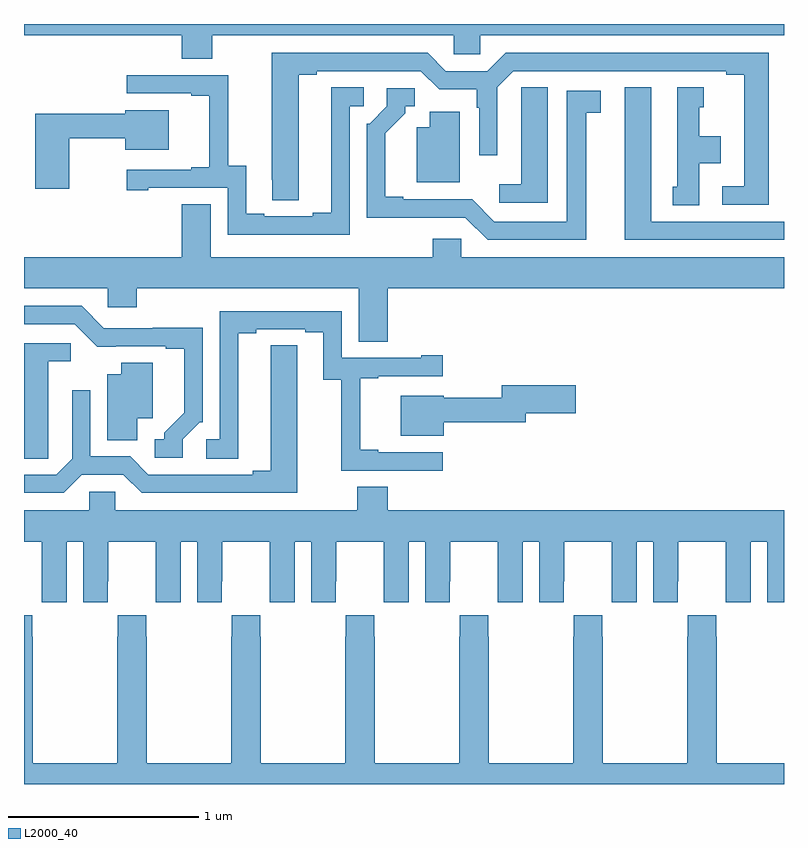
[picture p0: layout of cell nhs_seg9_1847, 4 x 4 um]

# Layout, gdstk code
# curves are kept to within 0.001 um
import gdstk
lib = gdstk.Library(unit=1e-6, precision=1e-09)
def P(c, l, *ps):  # polygons
    for p in ps: c.add(gdstk.Polygon(p, *l))
L2000_40 = (2000, 40)

nhs_seg9_1847 = lib.new_cell('nhs_seg9_1847')
P(nhs_seg9_1847, L2000_40, [(215.991,1176.44),(217.263,1176.44),(217.263,1176.342),(217.401,1176.342),(217.401,1176.44),(219,1176.44),(219,1176.5),(215,1176.5),(215,1176.44),(215.831,1176.44),(215.831,1176.316),(215.991,1176.316)],
  [(218.92,1176.348),(217.535,1176.348),(217.439,1176.252),(217.221,1176.252),(217.125,1176.348),(216.305,1176.348),(216.306,1175.572),(216.445,1175.572),(216.445,1176.232),(216.541,1176.232),(216.541,1176.252),(217.089,1176.252),(217.185,1176.156),(217.383,1176.156),(217.383,1176.059),(217.395,1176.059),(217.395,1175.808),(217.491,1175.808),(217.491,1176.168),(217.575,1176.252),(218.696,1176.252),(218.696,1176.232),(218.792,1176.232),(218.792,1175.646),(218.676,1175.646),(218.676,1175.55),(218.92,1175.55)],
  [(216.714,1176.066),(216.787,1176.066),(216.787,1176.167),(216.617,1176.167),(216.617,1175.507),(216.521,1175.507),(216.521,1175.487),(216.265,1175.487),(216.265,1175.502),(216.169,1175.502),(216.169,1175.753),(216.075,1175.753),(216.075,1176.231),(215.541,1176.231),(215.541,1176.135),(215.879,1176.135),(215.879,1176.123),(215.975,1176.123),(215.975,1175.746),(215.879,1175.746),(215.879,1175.733),(215.541,1175.733),(215.541,1175.625),(215.653,1175.625),(215.653,1175.637),(216.072,1175.637),(216.072,1175.391),(216.714,1175.391)],
  [(217.756,1176.167),(217.617,1176.167),(217.617,1176.059),(217.616,1176.059),(217.616,1175.656),(217.5,1175.656),(217.5,1175.559),(217.756,1175.559)],
  [(218.554,1175.768),(218.668,1175.768),(218.668,1175.908),(218.554,1175.908),(218.554,1176.063),(218.578,1176.063),(218.578,1176.166),(218.438,1176.166),(218.438,1175.643),(218.414,1175.643),(218.414,1175.545),(218.554,1175.545)],
  [(219,1175.46),(218.302,1175.46),(218.302,1176.166),(218.162,1176.166),(218.162,1175.364),(219,1175.364)],
  [(217.96,1176.034),(218.035,1176.034),(218.035,1176.15),(217.856,1176.15),(217.856,1175.46),(217.476,1175.46),(217.359,1175.577),(216.997,1175.577),(216.997,1175.59),(216.901,1175.59),(216.901,1175.926),(217.006,1176.031),(217.006,1176.066),(217.057,1176.066),(217.057,1176.162),(216.909,1176.162),(216.909,1176.066),(216.819,1175.976),(216.804,1175.976),(216.804,1175.48),(217.323,1175.481),(217.44,1175.364),(217.96,1175.364)],
  [(215.238,1175.899),(215.534,1175.899),(215.534,1175.837),(215.761,1175.837),(215.761,1176.046),(215.534,1176.046),(215.534,1176.028),(215.06,1176.028),(215.06,1175.634),(215.238,1175.634)],
  [(217.294,1176.037),(217.136,1176.037),(217.136,1175.956),(217.067,1175.956),(217.067,1175.666),(217.294,1175.666)],
  [(216.914,1175.108),(219,1175.108),(219,1175.272),(217.302,1175.272),(217.302,1175.37),(217.151,1175.37),(217.151,1175.272),(215.983,1175.272),(215.983,1175.552),(215.831,1175.552),(215.831,1175.272),(215,1175.272),(215,1175.108),(215.442,1175.108),(215.442,1175.01),(215.594,1175.01),(215.594,1175.108),(216.761,1175.108),(216.761,1174.828),(216.914,1174.828)],
  [(215.835,1174.314),(215.925,1174.404),(215.94,1174.404),(215.94,1174.901),(215.677,1174.901),(215.677,1174.899),(215.421,1174.899),(215.304,1175.016),(215,1175.016),(215,1174.92),(215.268,1174.92),(215.386,1174.802),(215.747,1174.803),(215.747,1174.791),(215.843,1174.791),(215.843,1174.454),(215.738,1174.349),(215.738,1174.314),(215.688,1174.314),(215.688,1174.218),(215.835,1174.218)],
  [(217.204,1174.245),(216.865,1174.245),(216.865,1174.258),(216.77,1174.258),(216.77,1174.635),(216.865,1174.635),(216.865,1174.647),(217.204,1174.647),(217.204,1174.756),(217.091,1174.756),(217.091,1174.743),(216.672,1174.743),(216.672,1174.989),(216.03,1174.989),(216.03,1174.314),(215.958,1174.314),(215.958,1174.213),(216.127,1174.213),(216.127,1174.873),(216.223,1174.873),(216.223,1174.893),(216.479,1174.893),(216.479,1174.878),(216.575,1174.878),(216.575,1174.627),(216.67,1174.627),(216.67,1174.149),(217.204,1174.149)],
  [(215.127,1174.321),(215.128,1174.321),(215.128,1174.724),(215.245,1174.724),(215.245,1174.821),(215,1174.821),(215,1174.213),(215.127,1174.213)],
  [(215.305,1174.128),(215.523,1174.128),(215.619,1174.032),(216.439,1174.032),(216.438,1174.808),(216.299,1174.808),(216.299,1174.148),(216.203,1174.148),(216.203,1174.128),(215.655,1174.128),(215.559,1174.224),(215.349,1174.224),(215.349,1174.573),(215.253,1174.573),(215.253,1174.212),(215.169,1174.128),(215,1174.128),(215,1174.032),(215.209,1174.032)],
  [(215.596,1174.424),(215.677,1174.424),(215.677,1174.718),(215.513,1174.718),(215.513,1174.657),(215.438,1174.657),(215.438,1174.309),(215.596,1174.309)],
  [(217.21,1174.404),(217.642,1174.404),(217.642,1174.451),(217.903,1174.451),(217.903,1174.598),(217.514,1174.598),(217.514,1174.532),(217.21,1174.532),(217.21,1174.543),(216.983,1174.543),(216.983,1174.334),(217.21,1174.334)],
  [(215.224,1173.776),(215.312,1173.776),(215.312,1173.456),(215.442,1173.456),(215.442,1173.568),(215.443,1173.568),(215.443,1173.776),(215.693,1173.776),(215.693,1173.568),(215.694,1173.568),(215.694,1173.456),(215.824,1173.456),(215.824,1173.776),(215.912,1173.776),(215.912,1173.456),(216.042,1173.456),(216.042,1173.568),(216.043,1173.568),(216.043,1173.776),(216.293,1173.776),(216.293,1173.568),(216.294,1173.568),(216.294,1173.456),(216.424,1173.456),(216.424,1173.776),(216.512,1173.776),(216.512,1173.456),(216.642,1173.456),(216.642,1173.568),(216.643,1173.568),(216.643,1173.776),(216.893,1173.776),(216.893,1173.568),(216.894,1173.568),(216.894,1173.456),(217.024,1173.456),(217.024,1173.776),(217.112,1173.776),(217.112,1173.456),(217.242,1173.456),(217.242,1173.568),(217.243,1173.568),(217.243,1173.776),(217.493,1173.776),(217.493,1173.568),(217.494,1173.568),(217.494,1173.456),(217.624,1173.456),(217.624,1173.776),(217.712,1173.776),(217.712,1173.456),(217.842,1173.456),(217.842,1173.568),(217.843,1173.568),(217.843,1173.776),(218.093,1173.776),(218.093,1173.568),(218.094,1173.568),(218.094,1173.456),(218.224,1173.456),(218.224,1173.776),(218.312,1173.776),(218.312,1173.456),(218.442,1173.456),(218.442,1173.568),(218.443,1173.568),(218.443,1173.776),(218.693,1173.776),(218.693,1173.568),(218.694,1173.568),(218.694,1173.456),(218.824,1173.456),(218.824,1173.776),(218.912,1173.776),(218.912,1173.456),(219,1173.456),(219,1173.94),(216.914,1173.94),(216.914,1174.064),(216.754,1174.064),(216.754,1173.94),(215.481,1173.94),(215.481,1174.038),(215.343,1174.038),(215.343,1173.94),(215,1173.94),(215,1173.776),(215.093,1173.776),(215.093,1173.568),(215.094,1173.568),(215.094,1173.456),(215.224,1173.456)],
  [(219,1172.608),(218.646,1172.608),(218.646,1173.275),(218.643,1173.275),(218.643,1173.388),(218.493,1173.388),(218.493,1173.275),(218.491,1173.275),(218.491,1172.608),(218.046,1172.608),(218.046,1173.275),(218.043,1173.275),(218.043,1173.388),(217.893,1173.388),(217.893,1173.275),(217.891,1173.275),(217.891,1172.608),(217.446,1172.608),(217.446,1173.275),(217.443,1173.275),(217.443,1173.388),(217.293,1173.388),(217.293,1173.275),(217.291,1173.275),(217.291,1172.608),(216.846,1172.608),(216.846,1173.275),(216.843,1173.275),(216.843,1173.388),(216.693,1173.388),(216.693,1173.275),(216.691,1173.275),(216.691,1172.608),(216.246,1172.608),(216.246,1173.275),(216.243,1173.275),(216.243,1173.388),(216.093,1173.388),(216.093,1173.275),(216.091,1173.275),(216.091,1172.608),(215.646,1172.608),(215.646,1173.275),(215.643,1173.275),(215.643,1173.388),(215.493,1173.388),(215.493,1173.275),(215.491,1173.275),(215.491,1172.608),(215.046,1172.608),(215.046,1173.275),(215.043,1173.275),(215.043,1173.388),(215,1173.388),(215,1172.5),(219,1172.5)])

lib.write_gds('nhs_seg9_1847.gds')
